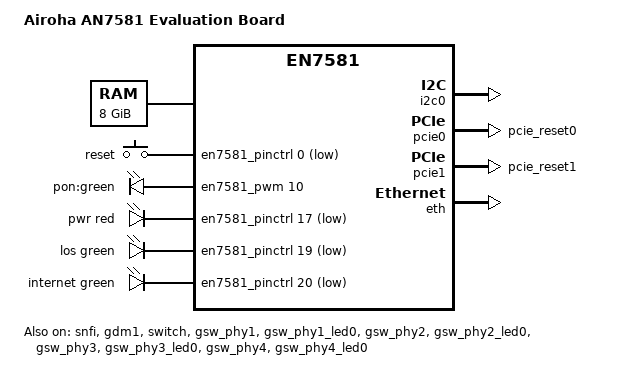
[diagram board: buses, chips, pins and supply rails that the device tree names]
// SPDX-License-Identifier: (GPL-2.0-only OR BSD-2-Clause)
/dts-v1/;

/* Bootloader installs ATF here */
/memreserve/ 0x80000000 0x200000;

#include <dt-bindings/leds/common.h>
#include <dt-bindings/gpio/gpio.h>
#include <dt-bindings/input/input.h>
#include "an7581.dtsi"

/ {
	model = "Airoha AN7581 Evaluation Board";
	compatible = "airoha,an7581-evb", "airoha,an7581", "airoha,en7581";

	aliases {
		serial0 = &uart1;
	};

	chosen {
		bootargs = "console=ttyS0,115200 earlycon";
		stdout-path = "serial0:115200n8";
		linux,usable-memory-range = <0x0 0x80200000 0x0 0x1fe00000>;
	};

	memory@80000000 {
		device_type = "memory";
		reg = <0x0 0x80000000 0x2 0x00000000>;
	};

	gpio-keys-polled {
		compatible = "gpio-keys-polled";
		poll-interval = <100>;
		btn0 {
			label = "reset";
			linux,code = <KEY_RESTART>;
			gpios = <&en7581_pinctrl 0 GPIO_ACTIVE_LOW>;
		};
	};

	pwmleds {
		compatible = "pwm-leds";
		pinctrl-names = "default";
		pinctrl-0 = <&pwm_gpio18_idx10_pins>;
		lan4_green {
			label = "pon:green";
			pwms = <&en7581_pwm 10 4000000 0>;
			max-brightness = <255>;
			active-low;
		};
	};


	leds {
		compatible = "gpio-leds";

		pwr_led: led-0 {
			label = "pwr";
			color = <LED_COLOR_ID_RED>;
			function = LED_FUNCTION_POWER;
			gpios = <&en7581_pinctrl 17 GPIO_ACTIVE_LOW>;
			default-state = "on";
		};

		los_led: led-2 {
			label = "los";
			color = <LED_COLOR_ID_GREEN>;
			function = LED_FUNCTION_STATUS;
			gpios = <&en7581_pinctrl 19 GPIO_ACTIVE_LOW>;
			default-state = "on";
		};

		internet_led: led-3 {
			label = "internet";
			color = <LED_COLOR_ID_GREEN>;
			function = LED_FUNCTION_STATUS;
			gpios = <&en7581_pinctrl 20 GPIO_ACTIVE_LOW>;
			default-state = "on";
		};
	};
};

&en7581_pinctrl {
	gpio-ranges = <&en7581_pinctrl 0 13 47>;

	mdio_pins: mdio-pins {
		mux {
			function = "mdio";
			groups = "mdio";
		};

		conf {
			pins = "gpio2";
			output-high;
		};
	};

	pcie0_rst_pins: pcie0-rst-pins {
		conf {
			pins = "pcie_reset0";
			drive-open-drain = <1>;
		};
	};

	pcie1_rst_pins: pcie1-rst-pins {
		conf {
			pins = "pcie_reset1";
			drive-open-drain = <1>;
		};
	};

	gswp1_led0_pins: gswp1-led0-pins {
		mux {
			function = "phy1_led0";
			pins = "gpio33";
		};
	};

	gswp2_led0_pins: gswp2-led0-pins {
		mux {
			function = "phy2_led0";
			pins = "gpio34";
		};
	};

	gswp3_led0_pins: gswp3-led0-pins {
		mux {
			function = "phy3_led0";
			pins = "gpio35";
		};
	};

	gswp4_led0_pins: gswp4-led0-pins {
		mux {
			function = "phy4_led0";
			pins = "gpio42";
		};
	};

	pwm_gpio18_idx10_pins: pwm-gpio18-idx10-pins {
		function = "pwm";
		pins = "gpio18";
		output-enable;
	};
};

&snfi {
	status = "okay";
};

&spi_nand {
	partitions {
		compatible = "fixed-partitions";
		#address-cells = <1>;
		#size-cells = <1>;

		bootloader@0 {
			label = "bootloader";
			reg = <0x00000000 0x00080000>;
			read-only;
		};

		art@200000 {
			label = "art";
			reg = <0x00200000 0x00400000>;
		};

		tclinux@600000 {
			label = "tclinux";
			reg = <0x00600000 0x03200000>;
		};

		tclinux_slave@3800000 {
			label = "tclinux_alt";
			reg = <0x03800000 0x03200000>;
		};

		rootfs_data@6a00000 {
			label = "rootfs_data";
			reg = <0x06a00000 0x01400000>;
		};

		reserved_bmt@7e00000 {
			label = "reserved_bmt";
			reg = <0x07e00000 0x00200000>;
			read-only;
		};
	};
};

&i2c0 {
	status = "okay";
};

&pcie0 {
	pinctrl-names = "default";
	pinctrl-0 = <&pcie0_rst_pins>;
	status = "okay";
};

&pcie1 {
	pinctrl-names = "default";
	pinctrl-0 = <&pcie1_rst_pins>;
	status = "okay";
};

&eth {
	status = "okay";
};

&gdm1 {
	status = "okay";
};

&switch {
	pinctrl-names = "default";
	pinctrl-0 = <&mdio_pins>;
	status = "okay";
};

&gsw_phy1 {
	pinctrl-names = "led";
	pinctrl-0 = <&gswp1_led0_pins>;
	status = "okay";
};

&gsw_phy1_led0 {
	status = "okay";
};

&gsw_phy2 {
	pinctrl-names = "led";
	pinctrl-0 = <&gswp2_led0_pins>;
	status = "okay";
};

&gsw_phy2_led0 {
	status = "okay";
};

&gsw_phy3 {
	pinctrl-names = "led";
	pinctrl-0 = <&gswp3_led0_pins>;
	status = "okay";
};

&gsw_phy3_led0 {
	status = "okay";
};

&gsw_phy4 {
	pinctrl-names = "led";
	pinctrl-0 = <&gswp4_led0_pins>;
	status = "okay";
};

&gsw_phy4_led0 {
	status = "okay";
};
